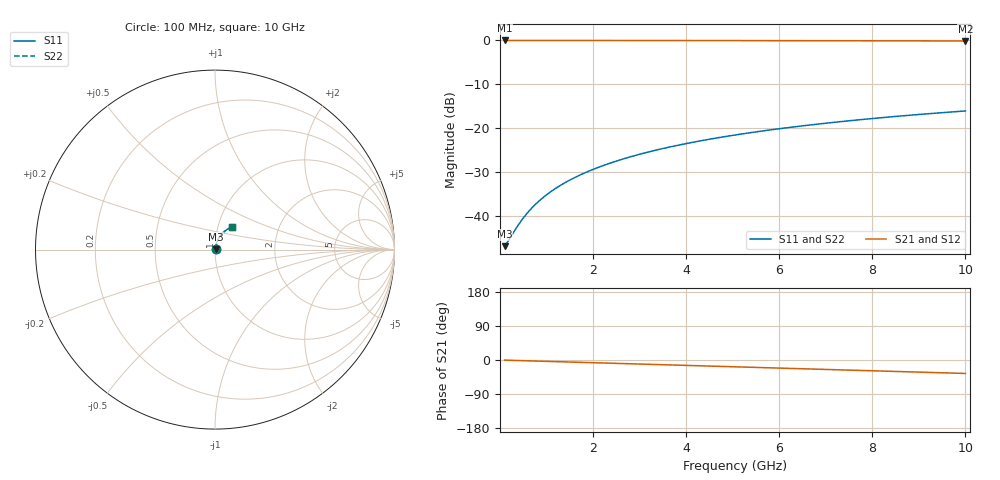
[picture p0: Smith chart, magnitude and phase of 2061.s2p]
# Hz S RI R 50.00
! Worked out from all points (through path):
!   100 points, 100 MHz to 10 GHz, reference 50 ohm
!   highest |S21| = -0.04 dB at 100 MHz (marker M1); lowest = -0.1 dB at 10 GHz (marker M2)
!   group delay of S21, straight-line fit = 9.87 ps
!   lowest |S11| = -47.0 dB at 100 MHz (marker M3), VSWR 1.01, Z = 50.4 + j0.166 ohm
!   |S11| at or under -10 dB: start of sweep to end of sweep
!   |S22| runs from -47.0 to -16.1 dB; largest |S21 - S12| = 0
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1e8  0.00417 0.00165  0.9958 -0.00619  0.9958 -0.00619  0.00417 0.00165
2e8  0.00422 0.0033  0.9957 -0.0124  0.9957 -0.0124  0.00422 0.0033
4e8  0.00438 0.00659  0.9954 -0.0247  0.9954 -0.0247  0.00438 0.00659
5e8  0.00448 0.00823  0.9952 -0.0309  0.9952 -0.0309  0.00448 0.00823
6e8  0.00461 0.00987  0.995 -0.0371  0.995 -0.0371  0.00461 0.00987
7e8  0.00475 0.0115  0.9947 -0.0433  0.9947 -0.0433  0.00475 0.0115
8e8  0.00491 0.0132  0.9944 -0.0495  0.9944 -0.0495  0.00491 0.0132
1e9  0.00529 0.0164  0.9936 -0.0618  0.9936 -0.0618  0.00529 0.0164
1.2e9  0.00576 0.0197  0.9927 -0.0741  0.9927 -0.0741  0.00576 0.0197
1.5e9  0.0066 0.0246  0.991 -0.0926  0.991 -0.0926  0.0066 0.0246
1.8e9  0.00762 0.0294  0.989 -0.111  0.989 -0.111  0.00762 0.0294
2.1e9  0.00882 0.0342  0.9865 -0.1294  0.9865 -0.1294  0.00882 0.0342
2.5e9  0.0107 0.0405  0.9827 -0.1539  0.9827 -0.1539  0.0107 0.0405
2.9e9  0.0129 0.0467  0.9783 -0.1782  0.9783 -0.1782  0.0129 0.0467
3.4e9  0.016 0.0543  0.9718 -0.2084  0.9718 -0.2084  0.016 0.0543
4.2e9  0.0221 0.0659  0.9595 -0.2561  0.9595 -0.2561  0.0221 0.0659
5.1e9  0.0302 0.0783  0.9426 -0.309  0.9426 -0.309  0.0302 0.0783
5.9e9  0.0385 0.0884  0.925 -0.3549  0.925 -0.3549  0.0385 0.0884
6.7e9  0.0478 0.0976  0.9051 -0.3998  0.9051 -0.3998  0.0478 0.0976
7.5e9  0.0579 0.1059  0.883 -0.4434  0.883 -0.4434  0.0579 0.1059
8.4e9  0.0702 0.114  0.8555 -0.491  0.8555 -0.491  0.0702 0.114
1e10  0.094 0.1248  0.8002 -0.5709  0.8002 -0.5709  0.094 0.1248
